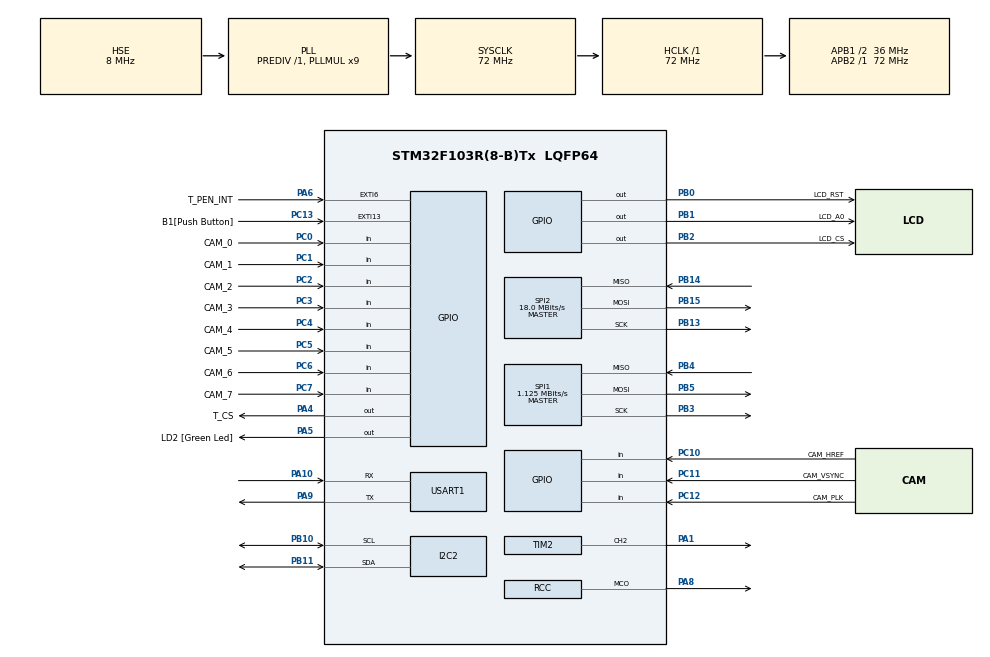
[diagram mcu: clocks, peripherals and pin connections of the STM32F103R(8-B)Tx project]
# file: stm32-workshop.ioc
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Mcu.Family=STM32F1
Mcu.Name=STM32F103R(8-B)Tx
Mcu.Package=LQFP64
NVIC.EXTI9_5_IRQn=true\:0\:0\:false\:false\:true\:true\:true\:true
NVIC.PriorityGroup=NVIC_PRIORITYGROUP_4
PA0-WKUP.Signal=S_TIM2_CH1_ETR
PA1.Signal=S_TIM2_CH2
PA10.Mode=Asynchronous
PA10.Signal=USART1_RX
PA13.GPIO_Label=TMS
PA13.Mode=Serial_Wire
PA13.Signal=SYS_JTMS-SWDIO
PA14.GPIO_Label=TCK
PA14.Mode=Serial_Wire
PA14.Signal=SYS_JTCK-SWCLK
PA2.GPIO_Label=USART_TX
PA2.GPIO_Mode=GPIO_MODE_AF_PP
PA2.GPIO_PuPd=GPIO_NOPULL
PA2.GPIO_Speed=GPIO_SPEED_FREQ_LOW
PA2.Signal=USART2_TX
PA3.GPIO_Label=USART_RX
PA3.GPIO_Mode=GPIO_MODE_AF_PP
PA3.GPIO_PuPd=GPIO_NOPULL
PA3.GPIO_Speed=GPIO_SPEED_FREQ_LOW
PA3.Signal=USART2_RX
PA4.GPIO_Label=T_CS
PA4.GPIO_Speed=GPIO_SPEED_FREQ_HIGH
PA4.PinState=GPIO_PIN_SET
PA4.Signal=GPIO_Output
PA5.GPIO_Label=LD2 [Green Led]
PA5.GPIO_ModeDefaultOutputPP=GPIO_MODE_OUTPUT_PP
PA5.GPIO_PuPd=GPIO_NOPULL
PA5.GPIO_Speed=GPIO_SPEED_FREQ_LOW
PA5.Signal=GPIO_Output
PA6.GPIO_Label=T_PEN_INT
PA6.GPIO_ModeDefaultEXTI=GPIO_MODE_IT_FALLING
PA6.Signal=GPXTI6
PA8.Mode=Clock-out
PA8.Signal=RCC_MCO
PA9.Mode=Asynchronous
PA9.Signal=USART1_TX
PB0.GPIO_Label=LCD_RST
PB0.GPIO_Speed=GPIO_SPEED_FREQ_HIGH
PB0.PinState=GPIO_PIN_SET
PB0.Signal=GPIO_Output
PB1.GPIO_Label=LCD_A0
PB1.GPIO_Speed=GPIO_SPEED_FREQ_HIGH
PB1.PinState=GPIO_PIN_SET
PB1.Signal=GPIO_Output
PB10.Mode=I2C
PB10.Signal=I2C2_SCL
PB11.Mode=I2C
PB11.Signal=I2C2_SDA
PB13.Mode=Full_Duplex_Master
PB13.Signal=SPI2_SCK
PB14.Mode=Full_Duplex_Master
PB14.Signal=SPI2_MISO
PB15.Mode=Full_Duplex_Master
PB15.Signal=SPI2_MOSI
PB2.GPIO_Label=LCD_CS
PB2.GPIO_Speed=GPIO_SPEED_FREQ_HIGH
PB2.PinState=GPIO_PIN_SET
PB2.Signal=GPIO_Output
PB3.Mode=Full_Duplex_Master
PB3.Signal=SPI1_SCK
PB4.Mode=Full_Duplex_Master
PB4.Signal=SPI1_MISO
PB5.Mode=Full_Duplex_Master
PB5.Signal=SPI1_MOSI
PC0.GPIO_Label=CAM_0
PC0.Signal=GPIO_Input
PC1.GPIO_Label=CAM_1
PC1.Signal=GPIO_Input
PC10.GPIO_Label=CAM_HREF
PC10.Signal=GPIO_Input
PC11.GPIO_Label=CAM_VSYNC
PC11.Signal=GPIO_Input
PC12.GPIO_Label=CAM_PLK
PC12.Signal=GPIO_Input
PC13-TAMPER-RTC.GPIO_Label=B1[Push Button]
PC13-TAMPER-RTC.Signal=GPXTI13
PC14-OSC32_IN.Signal=RCC_OSC32_IN
PC15-OSC32_OUT.Signal=RCC_OSC32_OUT
PC2.GPIO_Label=CAM_2
PC2.Signal=GPIO_Input
PC3.GPIO_Label=CAM_3
PC3.Signal=GPIO_Input
PC4.GPIO_Label=CAM_4
PC4.Signal=GPIO_Input
PC5.GPIO_Label=CAM_5
PC5.Signal=GPIO_Input
PC6.GPIO_Label=CAM_6
PC6.Signal=GPIO_Input
PC7.GPIO_Label=CAM_7
PC7.Signal=GPIO_Input
PD0-OSC_IN.Mode=HSE-External-Oscillator
PD0-OSC_IN.Signal=RCC_OSC_IN
PD1-OSC_OUT.Mode=HSE-External-Oscillator
PD1-OSC_OUT.Signal=RCC_OSC_OUT
ProjectManager.HeapSize=0x200
ProjectManager.StackSize=0x400
ProjectManager.TargetToolchain=CMake
RCC.AHBFreq_Value=72000000
RCC.APB1CLKDivider=RCC_HCLK_DIV2
RCC.APB1Freq_Value=36000000
RCC.APB1TimFreq_Value=72000000
RCC.APB2Freq_Value=72000000
RCC.APB2TimFreq_Value=72000000
RCC.HCLKFreq_Value=72000000
RCC.PLLMUL=RCC_PLL_MUL9
RCC.PLLSourceVirtual=RCC_PLLSOURCE_HSE
RCC.RCC_MCOSource=RCC_MCO1SOURCE_HSE
RCC.SYSCLKFreq_VALUE=72000000
RCC.SYSCLKSource=RCC_SYSCLKSOURCE_PLLCLK
RCC.USBFreq_Value=72000000
SH.S_TIM2_CH1_ETR.0=TIM2_CH1
SH.S_TIM2_CH2.0=TIM2_CH2,PWM Generation2 CH2
SPI1.BaudRatePrescaler=SPI_BAUDRATEPRESCALER_64
SPI1.CalculateBaudRate=1.125 MBits/s
SPI1.Direction=SPI_DIRECTION_2LINES
SPI1.Mode=SPI_MODE_MASTER
SPI1.VirtualType=VM_MASTER
SPI2.BaudRatePrescaler=SPI_BAUDRATEPRESCALER_2
SPI2.CalculateBaudRate=18.0 MBits/s
SPI2.Direction=SPI_DIRECTION_2LINES
SPI2.Mode=SPI_MODE_MASTER
SPI2.VirtualType=VM_MASTER
TIM2.AutoReloadPreload=TIM_AUTORELOAD_PRELOAD_ENABLE
TIM2.Channel-PWM\ Generation2\ CH2=TIM_CHANNEL_2
TIM2.OCMode_PWM-PWM\ Generation2\ CH2=TIM_OCMODE_PWM2
TIM2.Period=999
TIM2.Prescaler=499
USART1.VirtualMode=VM_ASYNC
VP_TIM2_VS_ClockSourceINT.Mode=Internal
board=NUCLEO-F103RB

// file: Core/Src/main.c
/* USER CODE BEGIN Header */
/**
  ******************************************************************************
  * @file           : main.c
  * @brief          : Main program body
  ******************************************************************************
  * @attention
  *
  * <h2><center>&copy; Copyright (c) 2021 STMicroelectronics.
  * All rights reserved.</center></h2>
  *
  * This software component is licensed by ST under BSD 3-Clause license,
  * the "License"; You may not use this file except in compliance with the
  * License. You may obtain a copy of the License at:
  *                        opensource.org/licenses/BSD-3-Clause
  *
  ******************************************************************************
  */
/* USER CODE END Header */
#include "main.h"

/* USER CODE BEGIN Includes */
#include "lcd_ili9341.h"
#include "touch_xpt2046.h"
#include "log_uart.h"
#include "stdbool.h"
#include "ov7670.h"

/* USER CODE END Includes */

/* USER CODE BEGIN PD */
#define VSYNC_IS_HIGH() (HAL_GPIO_ReadPin(CAM_VSYNC_GPIO_Port, CAM_VSYNC_Pin) == GPIO_PIN_SET)
#define VSYNC_IS_LOW()  (HAL_GPIO_ReadPin(CAM_VSYNC_GPIO_Port, CAM_VSYNC_Pin) == GPIO_PIN_RESET)
#define HREF_IS_HIGH() (HAL_GPIO_ReadPin(CAM_HREF_GPIO_Port, CAM_HREF_Pin) == GPIO_PIN_SET)
#define HREF_IS_LOW()  (HAL_GPIO_ReadPin(CAM_HREF_GPIO_Port, CAM_HREF_Pin) == GPIO_PIN_RESET)
#define PLK_IS_HIGH() (HAL_GPIO_ReadPin(CAM_PLK_GPIO_Port, CAM_PLK_Pin) == GPIO_PIN_SET)
#define PLK_IS_LOW() (HAL_GPIO_ReadPin(CAM_PLK_GPIO_Port, CAM_PLK_Pin) == GPIO_PIN_RESET)
/* USER CODE END PD */

I2C_HandleTypeDef hi2c2;

SPI_HandleTypeDef hspi1;
SPI_HandleTypeDef hspi2;

TIM_HandleTypeDef htim2;

UART_HandleTypeDef huart1;

/* USER CODE BEGIN PV */
bool touch_screen_pressed = false;
bool new_frame_flag = false;
bool processing_frame = false;
/* USER CODE END PV */

void SystemClock_Config(void);
static void MX_GPIO_Init(void);
static void MX_TIM2_Init(void);
static void MX_SPI2_Init(void);
static void MX_USART1_UART_Init(void);
static void MX_SPI1_Init(void);
static void MX_I2C2_Init(void);

/* USER CODE BEGIN 0 */
int Button_Clicked(GPIO_TypeDef *Gpiox, uint16_t GPIO_Pin) {
  if (HAL_GPIO_ReadPin(Gpiox, GPIO_Pin) == GPIO_PIN_RESET) {
    HAL_Delay(20);
    if (HAL_GPIO_ReadPin(Gpiox, GPIO_Pin) == GPIO_PIN_RESET) {
      while (HAL_GPIO_ReadPin(Gpiox, GPIO_Pin) != GPIO_PIN_SET) {}
      HAL_Delay(20);
      if (HAL_GPIO_ReadPin(Gpiox, GPIO_Pin) == GPIO_PIN_SET) {
        return 1;
      }
    }
  }

  return 0;
}

void Blink_LED(uint8_t time) {
     while(time--) {
      HAL_GPIO_TogglePin(LD2_GPIO_Port, LD2_Pin);
      HAL_Delay(500);
      HAL_GPIO_TogglePin(LD2_GPIO_Port, LD2_Pin);
      HAL_Delay(500);
    }
}
uint8_t color_data[2] = {0, 0};
bool high_8 = true;

void HAL_GPIO_EXTI_Callback(uint16_t GPIO_Pin) {
  if (GPIO_Pin == B1_Pin) {
    log_write(LOG_LEVEL_DEBUG, "Button 1 pressed");
  } else if (GPIO_Pin == T_PEN_INT_Pin) {
    if (!touch_screen_pressed) {
      log_write(LOG_LEVEL_DEBUG, "Touch screen pressed");
      touch_screen_pressed = true;
    }
  }
}
uint16_t ili9320_BGR2RGB(uint16_t c)
{
  uint16_t  r, g, b, rgb;

  b = (c>>0)  & 0x1f;
  g = (c>>5)  & 0x3f;
  r = (c>>11) & 0x1f;

  rgb =  (b<<11) + (g<<5) + (r<<0);

  return( rgb );
}

/* USER CODE END 0 */

int main(void)
{

  /* MCU Configuration--------------------------------------------------------*/

  /* Reset of all peripherals, Initializes the Flash interface and the Systick. */
  HAL_Init();

  /* Configure the system clock */
  SystemClock_Config();

  /* Initialize all configured peripherals */
  MX_GPIO_Init();
  MX_TIM2_Init();
  MX_SPI2_Init();
  MX_USART1_UART_Init();
  MX_SPI1_Init();
  MX_I2C2_Init();
  /* USER CODE BEGIN 2 */
  LCD_Hard_Reset();

  log_write(LOG_LEVEL_DEBUG, "System starting");
  if (HAL_TIM_PWM_Start(&htim2, TIM_CHANNEL_2) != HAL_OK) {
    Blink_LED(2);
  } else {
    Blink_LED(1);
  }

  LCD_Init();

  HAL_StatusTypeDef status = HAL_I2C_IsDeviceReady(&hi2c2, 0x42, 3, 100);
  if (status == HAL_OK) {
    log_write(LOG_LEVEL_INFO, "OV7670 is ready");
  } else {
    log_write(LOG_LEVEL_ERROR, "OV7670 is not ready");
    Blink_LED(3);
  }

  uint8_t pid = OV7670_Read_Reg(0x0A);
  uint8_t ver = OV7670_Read_Reg(0x0B);
  log_write(LOG_LEVEL_INFO, "OV7670 Register PID:Ver Value: 0x%02X:0x%02X", pid, ver);
  uint8_t com7 = OV7670_Read_Reg(0x12);
  log_write(LOG_LEVEL_INFO, "OV7670 Register COM7 Value: 0x%02X", com7);
  OV7670_Init();
  com7 = OV7670_Read_Reg(0x12);
  log_write(LOG_LEVEL_INFO, "OV7670 Register COM7 Value after init: 0x%02X", com7);

  /* USER CODE END 2 */

  /* Infinite loop */
  /* USER CODE BEGIN WHILE */
  uint32_t pixel;
  uint8_t high;
  uint8_t low;
  uint8_t line_buf[640] = {0};
  uint16_t temp;

  while (1)
  {

    // if (Button_Clicked(B1_GPIO_Port, B1_Pin)) {
      // Blink_LED(1);
      LCD_Set_Window(0, 0, 319, 239);
      LCD_Send_Cmd(0x2c);
      LCD_CHIP_SELECT();
      LCD_MODE_DATA();
      // 等待 VSYNC 变低，表示一帧数据开始
      while(VSYNC_IS_LOW());  // 0->1
      while(VSYNC_IS_HIGH()); //1->0

      for (uint16_t y = 0; y < 240; y++) {
        while (HREF_IS_LOW()); // 0-> 1

        uint8_t *p = line_buf;

        for (uint16_t x = 0; x < 320; x++) {
          while(PLK_IS_LOW()); //0->1
          high = GPIOC->IDR & 0xFF;
          while(PLK_IS_HIGH()); //1->0

          while(PLK_IS_LOW()); //0->1
          low = GPIOC->IDR & 0xFF;
          while(PLK_IS_HIGH()); //1->0
          *p++ = high;
          *p++ = low;
          // log_write(LOG_LEVEL_INFO, "0x%02X, 0x%02X", high, low);
        }
        HAL_SPI_Transmit(&LCD_SPI_HANDLE, line_buf, 640, 50);
        while(HREF_IS_HIGH());
      }

      LCD_CHIP_UNSELECT();
    // }
    // HAL_Delay(10);
  }
    /* USER CODE END WHILE */

}

void SystemClock_Config(void)
{
  RCC_OscInitTypeDef RCC_OscInitStruct = {0};
  RCC_ClkInitTypeDef RCC_ClkInitStruct = {0};

  /** Initializes the RCC Oscillators according to the specified parameters
  * in the RCC_OscInitTypeDef structure.
  */
  RCC_OscInitStruct.OscillatorType = RCC_OSCILLATORTYPE_HSE;
  RCC_OscInitStruct.HSEState = RCC_HSE_ON;
  RCC_OscInitStruct.HSEPredivValue = RCC_HSE_PREDIV_DIV1;
  RCC_OscInitStruct.HSIState = RCC_HSI_ON;
  RCC_OscInitStruct.PLL.PLLState = RCC_PLL_ON;
  RCC_OscInitStruct.PLL.PLLSource = RCC_PLLSOURCE_HSE;
  RCC_OscInitStruct.PLL.PLLMUL = RCC_PLL_MUL9;
  if (HAL_RCC_OscConfig(&RCC_OscInitStruct) != HAL_OK)
  {
    Error_Handler();
  }

  /** Initializes the CPU, AHB and APB buses clocks
  */
  RCC_ClkInitStruct.ClockType = RCC_CLOCKTYPE_HCLK|RCC_CLOCKTYPE_SYSCLK
                              |RCC_CLOCKTYPE_PCLK1|RCC_CLOCKTYPE_PCLK2;
  RCC_ClkInitStruct.SYSCLKSource = RCC_SYSCLKSOURCE_PLLCLK;
  RCC_ClkInitStruct.AHBCLKDivider = RCC_SYSCLK_DIV1;
  RCC_ClkInitStruct.APB1CLKDivider = RCC_HCLK_DIV2;
  RCC_ClkInitStruct.APB2CLKDivider = RCC_HCLK_DIV1;

  if (HAL_RCC_ClockConfig(&RCC_ClkInitStruct, FLASH_LATENCY_2) != HAL_OK)
  {
    Error_Handler();
  }
  HAL_RCC_MCOConfig(RCC_MCO, RCC_MCO1SOURCE_HSE, RCC_MCODIV_1);
}

static void MX_I2C2_Init(void)
{

  hi2c2.Instance = I2C2;
  hi2c2.Init.ClockSpeed = 100000;
  hi2c2.Init.DutyCycle = I2C_DUTYCYCLE_2;
  hi2c2.Init.OwnAddress1 = 0;
  hi2c2.Init.AddressingMode = I2C_ADDRESSINGMODE_7BIT;
  hi2c2.Init.DualAddressMode = I2C_DUALADDRESS_DISABLE;
  hi2c2.Init.OwnAddress2 = 0;
  hi2c2.Init.GeneralCallMode = I2C_GENERALCALL_DISABLE;
  hi2c2.Init.NoStretchMode = I2C_NOSTRETCH_DISABLE;
  if (HAL_I2C_Init(&hi2c2) != HAL_OK)
  {
    Error_Handler();
  }

}

static void MX_SPI1_Init(void)
{

  /* SPI1 parameter configuration*/
  hspi1.Instance = SPI1;
  hspi1.Init.Mode = SPI_MODE_MASTER;
  hspi1.Init.Direction = SPI_DIRECTION_2LINES;
  hspi1.Init.DataSize = SPI_DATASIZE_8BIT;
  hspi1.Init.CLKPolarity = SPI_POLARITY_LOW;
  hspi1.Init.CLKPhase = SPI_PHASE_1EDGE;
  hspi1.Init.NSS = SPI_NSS_SOFT;
  hspi1.Init.BaudRatePrescaler = SPI_BAUDRATEPRESCALER_64;
  hspi1.Init.FirstBit = SPI_FIRSTBIT_MSB;
  hspi1.Init.TIMode = SPI_TIMODE_DISABLE;
  hspi1.Init.CRCCalculation = SPI_CRCCALCULATION_DISABLE;
  hspi1.Init.CRCPolynomial = 10;
  if (HAL_SPI_Init(&hspi1) != HAL_OK)
  {
    Error_Handler();
  }

}

static void MX_SPI2_Init(void)
{

  /* SPI2 parameter configuration*/
  hspi2.Instance = SPI2;
  hspi2.Init.Mode = SPI_MODE_MASTER;
  hspi2.Init.Direction = SPI_DIRECTION_2LINES;
  hspi2.Init.DataSize = SPI_DATASIZE_8BIT;
  hspi2.Init.CLKPolarity = SPI_POLARITY_LOW;
  hspi2.Init.CLKPhase = SPI_PHASE_1EDGE;
  hspi2.Init.NSS = SPI_NSS_SOFT;
  hspi2.Init.BaudRatePrescaler = SPI_BAUDRATEPRESCALER_2;
  hspi2.Init.FirstBit = SPI_FIRSTBIT_MSB;
  hspi2.Init.TIMode = SPI_TIMODE_DISABLE;
  hspi2.Init.CRCCalculation = SPI_CRCCALCULATION_DISABLE;
  hspi2.Init.CRCPolynomial = 10;
  if (HAL_SPI_Init(&hspi2) != HAL_OK)
  {
    Error_Handler();
  }

}

static void MX_TIM2_Init(void)
{

  TIM_ClockConfigTypeDef sClockSourceConfig = {0};
  TIM_MasterConfigTypeDef sMasterConfig = {0};
  TIM_OC_InitTypeDef sConfigOC = {0};

  htim2.Instance = TIM2;
  htim2.Init.Prescaler = 499;
  htim2.Init.CounterMode = TIM_COUNTERMODE_UP;
  htim2.Init.Period = 999;
  htim2.Init.ClockDivision = TIM_CLOCKDIVISION_DIV1;
  htim2.Init.AutoReloadPreload = TIM_AUTORELOAD_PRELOAD_ENABLE;
  if (HAL_TIM_Base_Init(&htim2) != HAL_OK)
  {
    Error_Handler();
  }
  sClockSourceConfig.ClockSource = TIM_CLOCKSOURCE_INTERNAL;
  if (HAL_TIM_ConfigClockSource(&htim2, &sClockSourceConfig) != HAL_OK)
  {
    Error_Handler();
  }
  if (HAL_TIM_PWM_Init(&htim2) != HAL_OK)
  {
    Error_Handler();
  }
  sMasterConfig.MasterOutputTrigger = TIM_TRGO_RESET;
  sMasterConfig.MasterSlaveMode = TIM_MASTERSLAVEMODE_DISABLE;
  if (HAL_TIMEx_MasterConfigSynchronization(&htim2, &sMasterConfig) != HAL_OK)
  {
    Error_Handler();
  }
  sConfigOC.OCMode = TIM_OCMODE_PWM2;
  sConfigOC.Pulse = 0;
  sConfigOC.OCPolarity = TIM_OCPOLARITY_HIGH;
  sConfigOC.OCFastMode = TIM_OCFAST_DISABLE;
  if (HAL_TIM_PWM_ConfigChannel(&htim2, &sConfigOC, TIM_CHANNEL_2) != HAL_OK)
  {
    Error_Handler();
  }
  HAL_TIM_MspPostInit(&htim2);

}

static void MX_USART1_UART_Init(void)
{

  huart1.Instance = USART1;
  huart1.Init.BaudRate = 115200;
  huart1.Init.WordLength = UART_WORDLENGTH_8B;
  huart1.Init.StopBits = UART_STOPBITS_1;
  huart1.Init.Parity = UART_PARITY_NONE;
  huart1.Init.Mode = UART_MODE_TX_RX;
  huart1.Init.HwFlowCtl = UART_HWCONTROL_NONE;
  huart1.Init.OverSampling = UART_OVERSAMPLING_16;
  if (HAL_UART_Init(&huart1) != HAL_OK)
  {
    Error_Handler();
  }

}

static void MX_GPIO_Init(void)
{
  GPIO_InitTypeDef GPIO_InitStruct = {0};

  /* GPIO Ports Clock Enable */
  __HAL_RCC_GPIOC_CLK_ENABLE();
  __HAL_RCC_GPIOD_CLK_ENABLE();
  __HAL_RCC_GPIOA_CLK_ENABLE();
  __HAL_RCC_GPIOB_CLK_ENABLE();

  /*Configure GPIO pin Output Level */
  HAL_GPIO_WritePin(T_CS_GPIO_Port, T_CS_Pin, GPIO_PIN_SET);

  /*Configure GPIO pin Output Level */
  HAL_GPIO_WritePin(LD2_GPIO_Port, LD2_Pin, GPIO_PIN_RESET);

  /*Configure GPIO pin Output Level */
  HAL_GPIO_WritePin(GPIOB, LCD_RST_Pin|LCD_A0_Pin|LCD_CS_Pin, GPIO_PIN_SET);

  /*Configure GPIO pin : B1_Pin */
  GPIO_InitStruct.Pin = B1_Pin;
  GPIO_InitStruct.Mode = GPIO_MODE_IT_RISING;
  GPIO_InitStruct.Pull = GPIO_NOPULL;
  HAL_GPIO_Init(B1_GPIO_Port, &GPIO_InitStruct);

  /*Configure GPIO pins : CAM_0_Pin CAM_1_Pin CAM_2_Pin CAM_3_Pin
                           CAM_4_Pin CAM_5_Pin CAM_6_Pin CAM_7_Pin
                           CAM_HREF_Pin CAM_VSYNC_Pin CAM_PLK_Pin */
  GPIO_InitStruct.Pin = CAM_0_Pin|CAM_1_Pin|CAM_2_Pin|CAM_3_Pin
                          |CAM_4_Pin|CAM_5_Pin|CAM_6_Pin|CAM_7_Pin
                          |CAM_HREF_Pin|CAM_VSYNC_Pin|CAM_PLK_Pin;
  GPIO_InitStruct.Mode = GPIO_MODE_INPUT;
  GPIO_InitStruct.Pull = GPIO_NOPULL;
  HAL_GPIO_Init(GPIOC, &GPIO_InitStruct);

  /*Configure GPIO pins : USART_TX_Pin USART_RX_Pin PA8 */
  GPIO_InitStruct.Pin = USART_TX_Pin|USART_RX_Pin|GPIO_PIN_8;
  GPIO_InitStruct.Mode = GPIO_MODE_AF_PP;
  GPIO_InitStruct.Speed = GPIO_SPEED_FREQ_LOW;
  HAL_GPIO_Init(GPIOA, &GPIO_InitStruct);

  /*Configure GPIO pin : T_CS_Pin */
  GPIO_InitStruct.Pin = T_CS_Pin;
  GPIO_InitStruct.Mode = GPIO_MODE_OUTPUT_PP;
  GPIO_InitStruct.Pull = GPIO_NOPULL;
  GPIO_InitStruct.Speed = GPIO_SPEED_FREQ_HIGH;
  HAL_GPIO_Init(T_CS_GPIO_Port, &GPIO_InitStruct);

  /*Configure GPIO pin : LD2_Pin */
  GPIO_InitStruct.Pin = LD2_Pin;
  GPIO_InitStruct.Mode = GPIO_MODE_OUTPUT_PP;
  GPIO_InitStruct.Pull = GPIO_NOPULL;
  GPIO_InitStruct.Speed = GPIO_SPEED_FREQ_LOW;
  HAL_GPIO_Init(LD2_GPIO_Port, &GPIO_InitStruct);

  /*Configure GPIO pin : T_PEN_INT_Pin */
  GPIO_InitStruct.Pin = T_PEN_INT_Pin;
  GPIO_InitStruct.Mode = GPIO_MODE_IT_FALLING;
  GPIO_InitStruct.Pull = GPIO_NOPULL;
  HAL_GPIO_Init(T_PEN_INT_GPIO_Port, &GPIO_InitStruct);

  /*Configure GPIO pins : LCD_RST_Pin LCD_A0_Pin LCD_CS_Pin */
  GPIO_InitStruct.Pin = LCD_RST_Pin|LCD_A0_Pin|LCD_CS_Pin;
  GPIO_InitStruct.Mode = GPIO_MODE_OUTPUT_PP;
  GPIO_InitStruct.Pull = GPIO_NOPULL;
  GPIO_InitStruct.Speed = GPIO_SPEED_FREQ_HIGH;
  HAL_GPIO_Init(GPIOB, &GPIO_InitStruct);

  /* EXTI interrupt init*/
  HAL_NVIC_SetPriority(EXTI9_5_IRQn, 0, 0);
  HAL_NVIC_EnableIRQ(EXTI9_5_IRQn);

  /* USER CODE BEGIN MX_GPIO_Init_2 */
  // HAL_NVIC_DisableIRQ(EXTI15_10_IRQn);

  /* USER CODE END MX_GPIO_Init_2 */
}

void Error_Handler(void)
{
  /* USER CODE BEGIN Error_Handler_Debug */
  /* User can add his own implementation to report the HAL error return state */
  __disable_irq();
  while (1)
  {
    Blink_LED(5);
  }
  /* USER CODE END Error_Handler_Debug */
}
